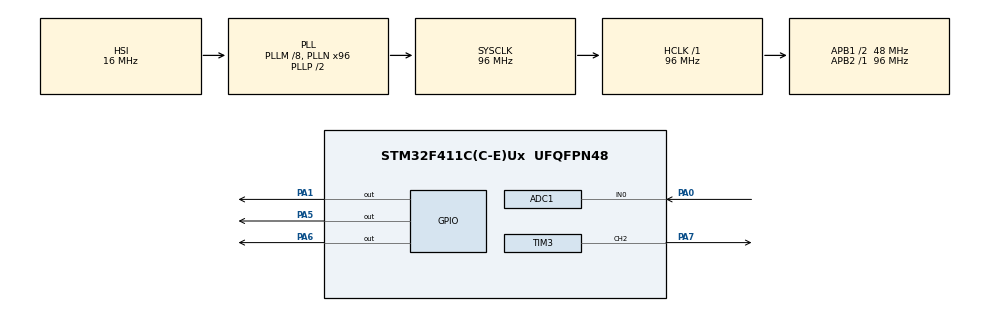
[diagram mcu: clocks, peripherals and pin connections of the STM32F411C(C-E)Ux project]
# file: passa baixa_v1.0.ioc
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ADC1.Channel-0\#ChannelRegularConversion=ADC_CHANNEL_0
ADC1.ContinuousConvMode=ENABLE
ADC1.NbrOfConversionFlag=1
ADC1.Rank-0\#ChannelRegularConversion=1
ADC1.SamplingTime-0\#ChannelRegularConversion=ADC_SAMPLETIME_15CYCLES
ADC1.master=1
Mcu.Family=STM32F4
Mcu.Name=STM32F411C(C-E)Ux
Mcu.Package=UFQFPN48
NVIC.PriorityGroup=NVIC_PRIORITYGROUP_4
NVIC.TIM3_IRQn=true\:0\:0\:false\:false\:true\:true\:true\:true
PA0-WKUP.Signal=ADCx_IN0
PA1.Signal=GPIO_Output
PA5.Signal=GPIO_Output
PA6.Signal=GPIO_Output
PA7.Signal=S_TIM3_CH2
ProjectManager.HeapSize=0x300
ProjectManager.StackSize=0x500
ProjectManager.TargetToolchain=STM32CubeIDE
RCC.48MHZClocksFreq_Value=48000000
RCC.AHBFreq_Value=96000000
RCC.APB1CLKDivider=RCC_HCLK_DIV2
RCC.APB1Freq_Value=48000000
RCC.APB1TimFreq_Value=96000000
RCC.APB2Freq_Value=96000000
RCC.APB2TimFreq_Value=96000000
RCC.CortexFreq_Value=96000000
RCC.HCLKFreq_Value=96000000
RCC.HSE_VALUE=25000000
RCC.HSI_VALUE=16000000
RCC.LSE_VALUE=32768
RCC.PLLM=8
RCC.PLLN=96
RCC.SYSCLKFreq_VALUE=96000000
RCC.SYSCLKSource=RCC_SYSCLKSOURCE_PLLCLK
RCC.VCOOutputFreq_Value=192000000
SH.ADCx_IN0.0=ADC1_IN0,IN0
SH.S_TIM3_CH2.0=TIM3_CH2,PWM Generation2 CH2
TIM3.AutoReloadPreload=TIM_AUTORELOAD_PRELOAD_ENABLE
TIM3.Channel-PWM\ Generation2\ CH2=TIM_CHANNEL_2
TIM3.Period=100-1
TIM3.Prescaler=96-1
TIM3.Pulse-PWM\ Generation2\ CH2=31
VP_TIM3_VS_ClockSourceINT.Mode=Internal
board=custom

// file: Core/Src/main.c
/* USER CODE BEGIN Header */
/**
 ******************************************************************************
 * @file           : main.c
 * @brief          : Implementação de Controlador Digital
 ******************************************************************************
 * @attention
 *
 * O código do controlador foi inserido neste arquivo. A lógica principal
 * é executada dentro da interrupção do TIM3, que ocorre a 10kHz. Um contador
 * interno faz com que o algoritmo de controle seja executado a cada 3ms (~333Hz).
 *
 * O código abaixo foi atualizado para refletir a lógica e os parâmetros do
 * exemplo em Mbed OS fornecido.
 *
 ******************************************************************************
 */
/* USER CODE END Header */
#include "main.h"

/* USER CODE BEGIN Includes */
#include "string.h"
#include "stdio.h"
/* USER CODE END Includes */

ADC_HandleTypeDef hadc1;

TIM_HandleTypeDef htim3;

/* USER CODE BEGIN PV */
// --- COEFICIENTES E ESTADOS DO CONTROLADOR (BASEADO NO CÓDIGO MBED) ---
// Período de amostragem em segundos (do código Mbed)
const float T_SAMPLE = 0.0001f;
const float VREF_VOLTS = 3.3f;

// Matrizes do observador (valores do código Mbed)
const float A[4] =
{ 0.0f, 1e7f, -1.7761e-3f, -1.1367e2f };

const float B[2] =
{ 0.0f, 1.7761e-3f };

const float Ke[2] =
{ 1.4719e2f, 2.9176e-3f };

const float Ki = 9045.3275f; // valor do integrador, calculado no MATLAB

const float Kc[2] =
{ 39.6464f, 1503575.2585f };

// ---- VARIÁVEIS GLOBAIS DO CONTROLADOR ----
volatile float g_control_u;

// Estados do Observador/Controlador
volatile float x1_obs;    // V_C1 estimado
volatile float x2_obs;    // i_C1 estimado
volatile float x_int;     // Estado do integrador
volatile float u_prev;    // Último sinal de controle (u[k-1])

// Derivadas dos estados (calculadas para a próxima iteração)
static float dx1;
static float dx2;

// Erro de rastreamento (usado no passo seguinte pelo integrador)
static float erro;

// Variáveis para leitura do ADC
uint16_t adc_raw_y;
float y_medido;

/* USER CODE END PV */

void SystemClock_Config(void);
static void MX_GPIO_Init(void);
static void MX_TIM3_Init(void);
static void MX_ADC1_Init(void);
/* USER CODE BEGIN PFP */
void Control_Init(void);
/* USER CODE END PFP */

/* USER CODE BEGIN 0 */
static uint32_t sample_count = 0;
float r_k = 1.0f;

int32_t pwm_duty;

/**
 * @brief Inicializa todas as variáveis de estado do controlador.
 */
void Control_Init(void)
{
	g_control_u = 0.0f;
	u_prev = 0.0f;

	x1_obs = 0.0f;
	x2_obs = 0.0f;
	x_int = 0.0f;

	dx1 = 0.0f;
	dx2 = 0.0f;
	erro = 0.0f;

	sample_count = 0;
	r_k = 1.0f; // Valor inicial da referência
}

/**
 * @brief  Callback da interrupção do Timer. Ocorre a cada 100us (10kHz).
 * @note   Esta função contém a lógica de controle em tempo real.
 */
void HAL_TIM_PeriodElapsedCallback(TIM_HandleTypeDef *htim)
{
	if (htim->Instance != TIM3)
		return;
	// --- PASSO 1: LEITURA DO SENSOR (y_k) ---
	HAL_ADC_Start(&hadc1);
	if (HAL_ADC_PollForConversion(&hadc1, 1) == HAL_OK)
	{
		adc_raw_y = HAL_ADC_GetValue(&hadc1);
		y_medido = adc_raw_y * (VREF_VOLTS / 4095.0f);
	}
	HAL_ADC_Stop(&hadc1);

	// --- PASSO 2: DEFINIÇÃO DA REFERÊNCIA (r_k) ---
	// Lógica para alternar a referência
	// Aprox. 200ms
	if (sample_count == 2000)
	{
		HAL_GPIO_TogglePin(GPIOA, GPIO_PIN_5);
		r_k = 1.5f;
	}
	else if (sample_count >= 4000)
	{
		r_k = 1.0f;
		HAL_GPIO_TogglePin(GPIOA, GPIO_PIN_5);
		sample_count = 0;
	}
	sample_count++;

	// --- PASSO 3: CÁLCULO DO CONTROLADOR ---

	// 1. Atualiza o estado do integrador com o erro da iteração ANTERIOR
	x_int += T_SAMPLE * erro;

	// 2. Calcula o erro de rastreamento ATUAL (será usado na próxima iteração)
	erro = r_k - y_medido;

	// 3. Atualiza os estados do observador com as derivadas da iteração ANTERIOR
	x1_obs += T_SAMPLE * dx1;
	x2_obs += T_SAMPLE * dx2;

	// 4. Calcula o erro do observador
	float y_obs = x1_obs;
	float obs_erro = y_medido - y_obs;

	// 5. Calcula o sinal de controle com os estados ESTIMADOS e o integrador
	g_control_u = -(Kc[0] * x1_obs + Kc[1] * x2_obs) + Ki * x_int;

	// 6. Armazena o controle atual para usar no cálculo das próximas derivadas
	u_prev = g_control_u;

	// 7. Calcula as derivadas dos estados para a PRÓXIMA iteração
	dx1 = A[0] * x1_obs + A[1] * x2_obs + B[0] * u_prev + Ke[0] * obs_erro;
	dx2 = A[2] * x1_obs + A[3] * x2_obs + B[1] * u_prev + Ke[1] * obs_erro;

	// --- PASSO 4: APLICAÇÃO DO SINAL DE CONTROLE ---
	float u_mapped = g_control_u;

	// 8. Saturação do sinal de controle
	if (u_mapped > VREF_VOLTS)
	{
		u_mapped = VREF_VOLTS;
	}
	if (u_mapped < 0.0f)
	{
		u_mapped = 0.0f;
	}

	// 9. Mapeia a tensão (0-3.3V) para o duty cycle do PWM (0-100)
	pwm_duty = (int32_t) ((u_mapped / VREF_VOLTS) * 100);

	// 10. Atualiza o duty cycle do PWM
	TIM3->CCR2 = pwm_duty;
}
/* USER CODE END 0 */

int main(void)
{

	/* MCU Configuration--------------------------------------------------------*/

	/* Reset of all peripherals, Initializes the Flash interface and the Systick. */
	HAL_Init();

	/* USER CODE BEGIN Init */
	/* USER END Init */

	/* Configure the system clock */
	SystemClock_Config();

	/* Initialize all configured peripherals */
	MX_GPIO_Init();
	MX_TIM3_Init();
	MX_ADC1_Init();
	/* USER CODE BEGIN 2 */

	// Inicializa as variáveis do controlador
	Control_Init();

	// Inicia o PWM e o Timer que dispara a interrupção de controle
	HAL_TIM_Base_Start_IT(&htim3);
	HAL_TIM_PWM_Start(&htim3, TIM_CHANNEL_2);
	HAL_ADC_Start(&hadc1); // Inicia o ADC

	/* USER CODE END 2 */

	/* Infinite loop */
	/* USER CODE BEGIN WHILE */
	while (1)
	{
		// O loop principal pode ser usado para tarefas de baixa prioridade.
		// A lógica de controle está na interrupção do TIM3.
		HAL_Delay(100);
		/* USER CODE END WHILE */

	}
}

void SystemClock_Config(void)
{
	RCC_OscInitTypeDef RCC_OscInitStruct =
	{ 0 };
	RCC_ClkInitTypeDef RCC_ClkInitStruct =
	{ 0 };

	/** Configure the main internal regulator output voltage
	 */
	__HAL_RCC_PWR_CLK_ENABLE();
	__HAL_PWR_VOLTAGESCALING_CONFIG(PWR_REGULATOR_VOLTAGE_SCALE1);

	/** Initializes the RCC Oscillators according to the specified parameters
	 * in the RCC_OscInitTypeDef structure.
	 */
	RCC_OscInitStruct.OscillatorType = RCC_OSCILLATORTYPE_HSI;
	RCC_OscInitStruct.HSIState = RCC_HSI_ON;
	RCC_OscInitStruct.HSICalibrationValue = RCC_HSICALIBRATION_DEFAULT;
	RCC_OscInitStruct.PLL.PLLState = RCC_PLL_ON;
	RCC_OscInitStruct.PLL.PLLSource = RCC_PLLSOURCE_HSI;
	RCC_OscInitStruct.PLL.PLLM = 8;
	RCC_OscInitStruct.PLL.PLLN = 96;
	RCC_OscInitStruct.PLL.PLLP = RCC_PLLP_DIV2;
	RCC_OscInitStruct.PLL.PLLQ = 4;
	if (HAL_RCC_OscConfig(&RCC_OscInitStruct) != HAL_OK)
	{
		Error_Handler();
	}

	/** Initializes the CPU, AHB and APB buses clocks
	 */
	RCC_ClkInitStruct.ClockType = RCC_CLOCKTYPE_HCLK | RCC_CLOCKTYPE_SYSCLK
			| RCC_CLOCKTYPE_PCLK1 | RCC_CLOCKTYPE_PCLK2;
	RCC_ClkInitStruct.SYSCLKSource = RCC_SYSCLKSOURCE_PLLCLK;
	RCC_ClkInitStruct.AHBCLKDivider = RCC_SYSCLK_DIV1;
	RCC_ClkInitStruct.APB1CLKDivider = RCC_HCLK_DIV2;
	RCC_ClkInitStruct.APB2CLKDivider = RCC_HCLK_DIV1;

	if (HAL_RCC_ClockConfig(&RCC_ClkInitStruct, FLASH_LATENCY_3) != HAL_OK)
	{
		Error_Handler();
	}
}

static void MX_ADC1_Init(void)
{

	ADC_ChannelConfTypeDef sConfig =
	{ 0 };

	/** Configure the global features of the ADC (Clock, Resolution, Data Alignment and number of conversion)
	 */
	hadc1.Instance = ADC1;
	hadc1.Init.ClockPrescaler = ADC_CLOCK_SYNC_PCLK_DIV4;
	hadc1.Init.Resolution = ADC_RESOLUTION_12B;
	hadc1.Init.ScanConvMode = DISABLE;
	hadc1.Init.ContinuousConvMode = ENABLE;
	hadc1.Init.DiscontinuousConvMode = DISABLE;
	hadc1.Init.ExternalTrigConvEdge = ADC_EXTERNALTRIGCONVEDGE_NONE;
	hadc1.Init.ExternalTrigConv = ADC_SOFTWARE_START;
	hadc1.Init.DataAlign = ADC_DATAALIGN_RIGHT;
	hadc1.Init.NbrOfConversion = 1;
	hadc1.Init.DMAContinuousRequests = DISABLE;
	hadc1.Init.EOCSelection = ADC_EOC_SINGLE_CONV;
	if (HAL_ADC_Init(&hadc1) != HAL_OK)
	{
		Error_Handler();
	}

	/** Configure for the selected ADC regular channel its corresponding rank in the sequencer and its sample time.
	 */
	sConfig.Channel = ADC_CHANNEL_0;
	sConfig.Rank = 1;
	sConfig.SamplingTime = ADC_SAMPLETIME_15CYCLES;
	if (HAL_ADC_ConfigChannel(&hadc1, &sConfig) != HAL_OK)
	{
		Error_Handler();
	}

}

static void MX_TIM3_Init(void)
{

	TIM_ClockConfigTypeDef sClockSourceConfig =
	{ 0 };
	TIM_MasterConfigTypeDef sMasterConfig =
	{ 0 };
	TIM_OC_InitTypeDef sConfigOC =
	{ 0 };

	htim3.Instance = TIM3;
	htim3.Init.Prescaler = 96 - 1;
	htim3.Init.CounterMode = TIM_COUNTERMODE_UP;
	htim3.Init.Period = 100 - 1;
	htim3.Init.ClockDivision = TIM_CLOCKDIVISION_DIV1;
	htim3.Init.AutoReloadPreload = TIM_AUTORELOAD_PRELOAD_ENABLE;
	if (HAL_TIM_Base_Init(&htim3) != HAL_OK)
	{
		Error_Handler();
	}
	sClockSourceConfig.ClockSource = TIM_CLOCKSOURCE_INTERNAL;
	if (HAL_TIM_ConfigClockSource(&htim3, &sClockSourceConfig) != HAL_OK)
	{
		Error_Handler();
	}
	if (HAL_TIM_PWM_Init(&htim3) != HAL_OK)
	{
		Error_Handler();
	}
	sMasterConfig.MasterOutputTrigger = TIM_TRGO_RESET;
	sMasterConfig.MasterSlaveMode = TIM_MASTERSLAVEMODE_DISABLE;
	if (HAL_TIMEx_MasterConfigSynchronization(&htim3, &sMasterConfig) != HAL_OK)
	{
		Error_Handler();
	}
	sConfigOC.OCMode = TIM_OCMODE_PWM1;
	sConfigOC.Pulse = 0; // Inicia com 0% de duty cycle
	sConfigOC.OCPolarity = TIM_OCPOLARITY_HIGH;
	sConfigOC.OCFastMode = TIM_OCFAST_DISABLE;
	if (HAL_TIM_PWM_ConfigChannel(&htim3, &sConfigOC, TIM_CHANNEL_2) != HAL_OK)
	{
		Error_Handler();
	}
	HAL_TIM_MspPostInit(&htim3);

}

static void MX_GPIO_Init(void)
{
	GPIO_InitTypeDef GPIO_InitStruct =
	{ 0 };

	/* GPIO Ports Clock Enable */
	__HAL_RCC_GPIOA_CLK_ENABLE();

	/*Configure GPIO pin Output Level */
	HAL_GPIO_WritePin(GPIOA, GPIO_PIN_1 | GPIO_PIN_5 | GPIO_PIN_6,
			GPIO_PIN_RESET);

	/*Configure GPIO pins : PA1 PA5 PA6 */
	GPIO_InitStruct.Pin = GPIO_PIN_1 | GPIO_PIN_5 | GPIO_PIN_6;
	GPIO_InitStruct.Mode = GPIO_MODE_OUTPUT_PP;
	GPIO_InitStruct.Pull = GPIO_NOPULL;
	GPIO_InitStruct.Speed = GPIO_SPEED_FREQ_LOW;
	HAL_GPIO_Init(GPIOA, &GPIO_InitStruct);

}

void Error_Handler(void)
{
	/* USER CODE BEGIN Error_Handler_Debug */
	while (1)
	{
		// Pisca um LED ou entra em loop infinito para indicar um erro fatal.
	}
	/* USER CODE END Error_Handler_Debug */
}
